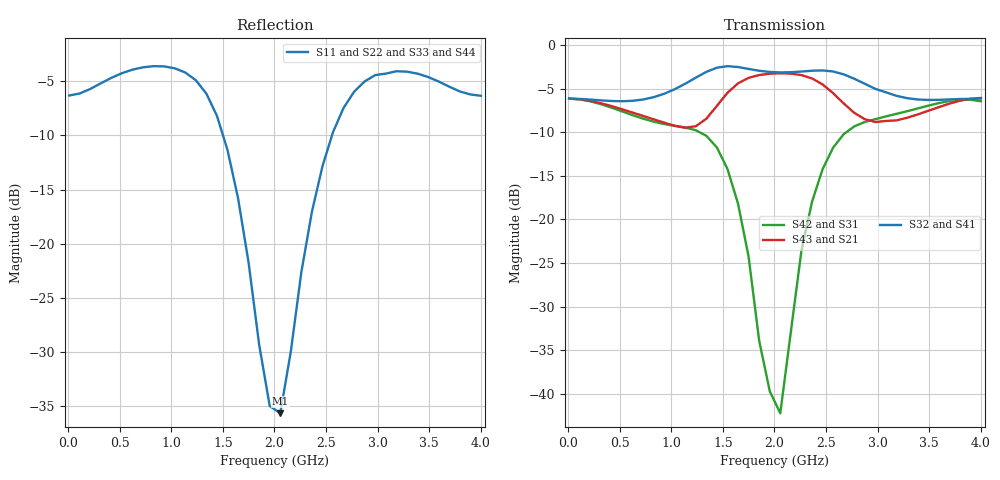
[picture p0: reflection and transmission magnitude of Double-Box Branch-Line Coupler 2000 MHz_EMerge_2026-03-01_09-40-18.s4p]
! Generated by EMerge - 4-port S-parameters
! File generated: 2026-03-01 09:40
! --- Double-Box Branch-Line Coupler 2000 MHz ---
! Substrate: RO4003C
! h = 0.508 mm
! W50 = 1.1 mm, W35 = 1.9 mm, W121 = 0.1 mm
! Lx = 22.2 mm, Ly = 22.2 mm
! L_feed = 5 mm
! Run time = 2.49 min
# GHZ S RI R 50
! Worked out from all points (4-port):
!   40 points, 10 MHz to 4 GHz, reference 50 ohm
!   strongest paths, dB at 10 MHz, 1.033 GHz, 2.056 GHz, 3.079 GHz, 4 GHz:
!     S32: -6.1, -5.0, -3.1, -5.4, -6.1
!     S41: -6.1, -5.0, -3.1, -5.4, -6.1
!     S43: -6.1, -9.2, -3.2, -8.7, -6.1
!     S21: -6.1, -9.2, -3.2, -8.7, -6.1
!     S42: -6.1, -9.3, -42.3, -8.2, -6.4
!     S31: -6.1, -9.3, -40.8, -8.2, -6.4
!   lowest |S11| = -35.6 dB at 2.056 GHz (marker M1), VSWR 1.03, Z = 51.7 + j0.295 ohm
!   |S11| at or under -10 dB: 1.501 GHz to 2.557 GHz (1.056 GHz wide, 52 % of centre)
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0.01  -0.4833 0.00107  0.4937 -0.0116  0.4938 -0.0108  0.4937 -0.013
      0.4937 -0.0116  -0.4833 0.00106  0.4937 -0.013  0.4938 -0.0108
      0.4938 -0.0108  0.4937 -0.013  -0.4833 0.00106  0.4937 -0.0116
      0.4937 -0.013  0.4938 -0.0108  0.4937 -0.0116  -0.4833 0.00106
0.7261538  -0.5033 0.4148  0.0211 -0.3925  0.0591 -0.3747  -0.0976 -0.4783
           0.0211 -0.3925  -0.5037 0.4145  -0.0975 -0.4783  0.0595 -0.3745
           0.0591 -0.3747  -0.0975 -0.4783  -0.5033 0.4148  0.021 -0.3925
           -0.0976 -0.4783  0.0595 -0.3745  0.021 -0.3925  -0.5036 0.4146
1.34  0.2433 0.4289  -0.227 -0.3036  -0.2869 -0.0956  -0.6863 0.1554
      -0.227 -0.3036  0.2423 0.4298  -0.6863 0.1551  -0.2863 -0.0964
      -0.2869 -0.0957  -0.6863 0.1551  0.2438 0.429  -0.2266 -0.3035
      -0.6863 0.1554  -0.2863 -0.0963  -0.2266 -0.3035  0.2432 0.4295
2.056154  0.0163 0.00286  -0.4234 0.5454  0.00352 -0.00841  0.552 0.4279
          -0.4234 0.5454  0.0165 0.00466  0.5516 0.4285  0.00349 -0.00687
          0.00352 -0.00841  0.5515 0.4285  0.0174 0.00419  -0.4239 0.545
          0.552 0.428  0.00349 -0.00687  -0.4239 0.545  0.0181 0.00538
2.363077  -0.00655 -0.1407  0.1437 0.6289  0.1122 -0.0528  0.6933 -0.1703
          0.1437 0.6289  -0.00329 -0.1381  0.6939 -0.1691  0.1148 -0.0513
          0.1122 -0.0528  0.6939 -0.1691  -0.00211 -0.1405  0.1432 0.6289
          0.6933 -0.1703  0.1148 -0.0513  0.1432 0.629  7.73e-05 -0.1402
2.772308  -0.4825 -0.1446  0.3759 0.1649  -0.1073 -0.3222  0.0105 -0.6416
          0.3759 0.1649  -0.4782 -0.1487  0.0118 -0.6427  -0.1046 -0.3254
          -0.1073 -0.3222  0.0118 -0.6427  -0.48 -0.1504  0.3746 0.1656
          0.0105 -0.6416  -0.1046 -0.3254  0.3747 0.1656  -0.4791 -0.1529
4  0.0146 0.4817  -0.1133 -0.4808  0.0194 0.4766  -0.0492 0.4936
   -0.1133 -0.4808  0.014 0.4833  -0.0496 0.492  0.0184 0.4768
   0.0194 0.4765  -0.0496 0.492  0.0144 0.4789  -0.1124 -0.4853
   -0.0492 0.4936  0.0184 0.4768  -0.1124 -0.4853  0.0129 0.4774
